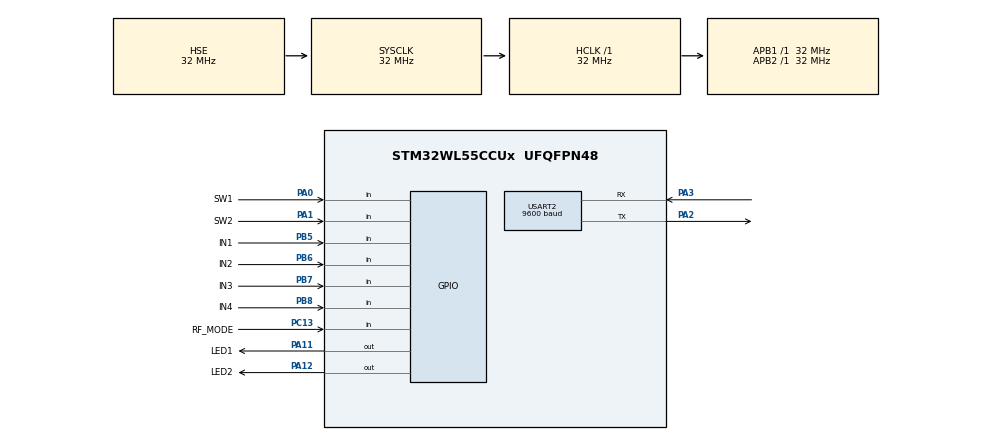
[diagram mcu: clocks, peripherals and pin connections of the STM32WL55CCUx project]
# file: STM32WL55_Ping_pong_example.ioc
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FREERTOS.BinarySemaphores01=radioBinarySem,Static,radioBinarySemControlBlock;mainBinarySem,Static,mainBinarySemControlBlock
FREERTOS.Tasks01=radioTask,24,128,StartRadioTask,Default,NULL,Static,radioTaskBuffer,radioTaskControlBlock;mainTask,24,128,StartMainTask,Default,NULL,Static,mainTaskBuffer,mainTaskControlBlock
FREERTOS.Timers01=mainTimer,mainTimerCallback,osTimerPeriodic,Default,NULL,Static,mainTimerControlBlock
FREERTOS.configUSE_IDLE_HOOK=0
FREERTOS.configUSE_NEWLIB_REENTRANT=1
FREERTOS.configUSE_TICKLESS_IDLE=1
LPTIM1.ClockPrescaler=LPTIM_PRESCALER_DIV1
Mcu.Family=STM32WL
Mcu.Name=STM32WL55CCUx
Mcu.Package=UFQFPN48
NVIC.PriorityGroup=NVIC_PRIORITYGROUP_4
NVIC.SUBGHZ_Radio_IRQn=true\:5\:0\:false\:false\:true\:true\:true\:true\:true
NVIC.TIM17_IRQn=true\:15\:0\:false\:false\:true\:false\:false\:true\:true
NVIC.TimeBase=TIM17_IRQn
NVIC.TimeBaseIP=TIM17
NVIC.USART2_IRQn=true\:5\:0\:false\:false\:true\:true\:true\:true\:true
OSC_IN.Mode=HSE-External-Oscillator
OSC_IN.Signal=RCC_OSC_IN
OSC_OUT.Mode=HSE-External-Oscillator
OSC_OUT.Signal=RCC_OSC_OUT
PA0.GPIO_Label=SW1
PA0.GPIO_PuPd=GPIO_PULLUP
PA0.Signal=GPIO_Input
PA1.GPIO_Label=SW2
PA1.GPIO_PuPd=GPIO_PULLUP
PA1.Signal=GPIO_Input
PA11.GPIO_Label=LED1
PA11.Signal=GPIO_Output
PA12.GPIO_Label=LED2
PA12.Signal=GPIO_Output
PA13.Signal=DEBUG_JTMS-SWDIO
PA14.Signal=DEBUG_JTCK-SWCLK
PA2.Mode=Asynchronous
PA2.Signal=USART2_TX
PA3.Mode=Asynchronous
PA3.Signal=USART2_RX
PB5.GPIO_Label=IN1
PB5.GPIO_PuPd=GPIO_PULLDOWN
PB5.Signal=GPIO_Input
PB6.GPIO_Label=IN2
PB6.GPIO_PuPd=GPIO_PULLDOWN
PB6.Signal=GPIO_Input
PB7.GPIO_Label=IN3
PB7.GPIO_PuPd=GPIO_PULLDOWN
PB7.Signal=GPIO_Input
PB8.GPIO_Label=IN4
PB8.GPIO_PuPd=GPIO_PULLDOWN
PB8.Signal=GPIO_Input
PC13.GPIO_Label=RF_MODE
PC13.GPIO_PuPd=GPIO_PULLUP
PC13.Signal=GPIO_Input
PC14-OSC32_IN.Mode=LSE-External-Oscillator
PC14-OSC32_IN.Signal=RCC_OSC32_IN
PC15-OSC32_OUT.Mode=LSE-External-Oscillator
PC15-OSC32_OUT.Signal=RCC_OSC32_OUT
ProjectManager.HeapSize=0x200
ProjectManager.StackSize=0x400
ProjectManager.TargetToolchain=STM32CubeIDE
RCC.AHBFreq_Value=32000000
RCC.APB1Freq_Value=32000000
RCC.APB1TimFreq_Value=32000000
RCC.APB2Freq_Value=32000000
RCC.APB2TimFreq_Value=32000000
RCC.APB3Freq_Value=32000000
RCC.CortexFreq_Value=32000000
RCC.HCLKFreq_Value=32000000
RCC.HSE_VALUE=32000000
RCC.HSI_VALUE=16000000
RCC.LSE_VALUE=32768
RCC.SYSCLKFreq_VALUE=32000000
RCC.SYSCLKSource=RCC_SYSCLKSOURCE_HSE
RCC.VCOOutputFreq_Value=32000000
SUBGHZ_PHY.TX_RFO_CONFIG=RBI_CONF_RFO_HP
USART2.BaudRate=9600
USART2.VirtualMode-Asynchronous=VM_ASYNC
VP_ADV_TRACE_VS_ADV_TRACE.Mode=ADV_TRACE_Enabled
VP_FREERTOS_VS_CMSIS_V2.Mode=CMSIS_V2
VP_LPTIM1_VS_LPTIM_counterModeInternalClock.Mode=Counts__internal_clock_event_00
VP_MISC_VS_MISC.Mode=MISC_Enabled
VP_RTC_VS_RTC_Activate.Mode=RTC_Enabled
VP_SUBGHZ_PHY_VS_SubGhzPhy.Mode=SubGhzPhy_Enabled
VP_SUBGHZ_VS_SUBGHZ.Mode=SUBGHZ_Activate
VP_SYS_VS_tim17.Mode=TIM17
VP_TIMER_VS_TIMER.Mode=TIMER_Enabled
VP_TINY_LPM_VS_TINY_LPM.Mode=TINY_LPM_Enabled
board=custom

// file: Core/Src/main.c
/* USER CODE BEGIN Header */
/**
 ******************************************************************************
 * @file           : main.c
 * @brief          : Main program body
 ******************************************************************************
 * @attention
 *
 * Copyright (c) 2022 STMicroelectronics.
 * All rights reserved.
 *
 * This software is licensed under terms that can be found in the LICENSE file
 * in the root directory of this software component.
 * If no LICENSE file comes with this software, it is provided AS-IS.
 *
 ******************************************************************************
 */
/* USER CODE END Header */
#include "main.h"
#include "cmsis_os2.h"
#include "FreeRTOS.h"
#include "app_subghz_phy.h"

/* USER CODE BEGIN Includes */

#include <string.h>
#include "board_define.h"
#include "protocol.h"
#include "radio_pin_manager.h"
#include "app_logic.h"
#include "rs485.h"
/* USER CODE END Includes */

typedef StaticTask_t osStaticThreadDef_t;
typedef StaticTimer_t osStaticTimerDef_t;
/* USER CODE BEGIN PTD */

typedef enum {

	RADIO_TX_START = 0, RADIO_RX_START, RADIO_SLEEP

} radio_state_t;

/* USER CODE END PTD */

/* USER CODE BEGIN PD */

#define UART_BUFFER_SIZE 255
#define RADIO_TX_TIMEOUT_COUNT 1000
#define RADIO_RX_TIMEOUT_COUNT 1000

/* USER CODE END PD */

LPTIM_HandleTypeDef hlptim1;

RTC_HandleTypeDef hrtc;

SUBGHZ_HandleTypeDef hsubghz;

UART_HandleTypeDef huart2;

/* Definitions for radioTask */
osThreadId_t radioTaskHandle;
uint32_t radioTaskBuffer[ 128 ];
osStaticThreadDef_t radioTaskControlBlock;
const osThreadAttr_t radioTask_attributes = {
  .name = "radioTask",
  .stack_mem = &radioTaskBuffer[0],
  .stack_size = sizeof(radioTaskBuffer),
  .cb_mem = &radioTaskControlBlock,
  .cb_size = sizeof(radioTaskControlBlock),
  .priority = (osPriority_t) osPriorityNormal,
};
/* Definitions for mainTask */
osThreadId_t mainTaskHandle;
uint32_t mainTaskBuffer[ 128 ];
osStaticThreadDef_t mainTaskControlBlock;
const osThreadAttr_t mainTask_attributes = {
  .name = "mainTask",
  .stack_mem = &mainTaskBuffer[0],
  .stack_size = sizeof(mainTaskBuffer),
  .cb_mem = &mainTaskControlBlock,
  .cb_size = sizeof(mainTaskControlBlock),
  .priority = (osPriority_t) osPriorityNormal,
};
/* Definitions for mainTimer */
osTimerId_t mainTimerHandle;
osStaticTimerDef_t mainTimerControlBlock;
const osTimerAttr_t mainTimer_attributes = {
  .name = "mainTimer",
  .cb_mem = &mainTimerControlBlock,
  .cb_size = sizeof(mainTimerControlBlock),
};
/* Definitions for radioBinarySem */
osSemaphoreId_t radioBinarySemHandle;
const osSemaphoreAttr_t radioBinarySem_attributes = {
  .name = "radioBinarySem"
};
/* Definitions for mainBinarySem */
osSemaphoreId_t mainBinarySemHandle;
const osSemaphoreAttr_t mainBinarySem_attributes = {
  .name = "mainBinarySem"
};
/* USER CODE BEGIN PV */

const uint16_t COMPANY_ID = 0x0000;
const uint16_t DEVICE_ID = 0x0000;

static uint8_t mac_address[MAC_ADDRESS_SIZE];

static uint16_t uart_tx_buffer_length = 0x00;
static uint8_t uart_tx_buffer[UART_BUFFER_SIZE] = { 0x00 };

static uint8_t radio_packet_protocol_size = 0;
static radio_packet_protocol_t radio_packet_protocol;

static volatile radio_state_t radio_state = RADIO_SLEEP;
static uint16_t radio_timer_count = 0;

static uint8_t radio_tx_buffer_size = 0;
static uint8_t radio_tx_buffer[128] = { 0x00 };

static int16_t radio_rx_rssi = 0;
static int8_t radio_rx_snr = 0;
static uint8_t radio_rx_buffer_size = 0;
static uint8_t radio_rx_buffer[128] = { 0x00 };

static uint8_t uart_2_data = 0x00;
static uint8_t uart_rx_buffer_size = 0;
static uint8_t uart_rx_buffer[128] = { 0x00 };

#ifdef EXAMPLE_TX

static volatile uint8_t cycle_timeout_count = 0;

#endif

/* USER CODE END PV */

void SystemClock_Config(void);
static void MX_GPIO_Init(void);
static void MX_LPTIM1_Init(void);
static void MX_RTC_Init(void);
static void MX_USART2_UART_Init(void);
void StartRadioTask(void *argument);
void StartMainTask(void *argument);
void mainTimerCallback(void *argument);

int main(void)
{

  /* MCU Configuration--------------------------------------------------------*/

  /* Reset of all peripherals, Initializes the Flash interface and the Systick. */
  HAL_Init();

  /* Configure the system clock */
  SystemClock_Config();

  /* Initialize all configured peripherals */
  MX_GPIO_Init();
  MX_LPTIM1_Init();
  MX_RTC_Init();
  MX_USART2_UART_Init();

  /* Init scheduler */
  osKernelInitialize();

  /* Create the semaphores(s) */
  /* creation of radioBinarySem */
  radioBinarySemHandle = osSemaphoreNew(1, 0, &radioBinarySem_attributes);

  /* creation of mainBinarySem */
  mainBinarySemHandle = osSemaphoreNew(1, 1, &mainBinarySem_attributes);

  /* Create the timer(s) */
  /* creation of mainTimer */
  mainTimerHandle = osTimerNew(mainTimerCallback, osTimerPeriodic, NULL, &mainTimer_attributes);

  /* Create the thread(s) */
  /* creation of radioTask */
  radioTaskHandle = osThreadNew(StartRadioTask, NULL, &radioTask_attributes);

  /* creation of mainTask */
  mainTaskHandle = osThreadNew(StartMainTask, NULL, &mainTask_attributes);

  /* Start scheduler */
  osKernelStart();

  /* We should never get here as control is now taken by the scheduler */

  /* Infinite loop */
	while (1) {

	}
}

void SystemClock_Config(void)
{
  RCC_OscInitTypeDef RCC_OscInitStruct = {0};
  RCC_ClkInitTypeDef RCC_ClkInitStruct = {0};

  /** Configure the main internal regulator output voltage
  */
  __HAL_PWR_VOLTAGESCALING_CONFIG(PWR_REGULATOR_VOLTAGE_SCALE1);

  /** Initializes the CPU, AHB and APB buses clocks
  */
  RCC_OscInitStruct.OscillatorType = RCC_OSCILLATORTYPE_LSI|RCC_OSCILLATORTYPE_HSE;
  RCC_OscInitStruct.HSEState = RCC_HSE_ON;
  RCC_OscInitStruct.LSIDiv = RCC_LSI_DIV1;
  RCC_OscInitStruct.HSEDiv = RCC_HSE_DIV1;
  RCC_OscInitStruct.LSIState = RCC_LSI_ON;
  RCC_OscInitStruct.PLL.PLLState = RCC_PLL_NONE;
  if (HAL_RCC_OscConfig(&RCC_OscInitStruct) != HAL_OK)
  {
    Error_Handler();
  }

  /** Configure the SYSCLKSource, HCLK, PCLK1 and PCLK2 clocks dividers
  */
  RCC_ClkInitStruct.ClockType = RCC_CLOCKTYPE_HCLK3|RCC_CLOCKTYPE_HCLK
                              |RCC_CLOCKTYPE_SYSCLK|RCC_CLOCKTYPE_PCLK1
                              |RCC_CLOCKTYPE_PCLK2;
  RCC_ClkInitStruct.SYSCLKSource = RCC_SYSCLKSOURCE_HSE;
  RCC_ClkInitStruct.AHBCLKDivider = RCC_SYSCLK_DIV1;
  RCC_ClkInitStruct.APB1CLKDivider = RCC_HCLK_DIV1;
  RCC_ClkInitStruct.APB2CLKDivider = RCC_HCLK_DIV1;
  RCC_ClkInitStruct.AHBCLK3Divider = RCC_SYSCLK_DIV1;

  if (HAL_RCC_ClockConfig(&RCC_ClkInitStruct, FLASH_LATENCY_1) != HAL_OK)
  {
    Error_Handler();
  }
}

static void MX_LPTIM1_Init(void)
{

  hlptim1.Instance = LPTIM1;
  hlptim1.Init.Clock.Source = LPTIM_CLOCKSOURCE_APBCLOCK_LPOSC;
  hlptim1.Init.Clock.Prescaler = LPTIM_PRESCALER_DIV1;
  hlptim1.Init.Trigger.Source = LPTIM_TRIGSOURCE_SOFTWARE;
  hlptim1.Init.OutputPolarity = LPTIM_OUTPUTPOLARITY_HIGH;
  hlptim1.Init.UpdateMode = LPTIM_UPDATE_IMMEDIATE;
  hlptim1.Init.CounterSource = LPTIM_COUNTERSOURCE_INTERNAL;
  hlptim1.Init.Input1Source = LPTIM_INPUT1SOURCE_GPIO;
  hlptim1.Init.Input2Source = LPTIM_INPUT2SOURCE_GPIO;
  if (HAL_LPTIM_Init(&hlptim1) != HAL_OK)
  {
    Error_Handler();
  }

}

static void MX_RTC_Init(void)
{

  /** Initialize RTC Only
  */
  hrtc.Instance = RTC;
  hrtc.Init.HourFormat = RTC_HOURFORMAT_24;
  hrtc.Init.AsynchPrediv = 127;
  hrtc.Init.SynchPrediv = 255;
  hrtc.Init.OutPut = RTC_OUTPUT_DISABLE;
  hrtc.Init.OutPutRemap = RTC_OUTPUT_REMAP_NONE;
  hrtc.Init.OutPutPolarity = RTC_OUTPUT_POLARITY_HIGH;
  hrtc.Init.OutPutType = RTC_OUTPUT_TYPE_OPENDRAIN;
  hrtc.Init.OutPutPullUp = RTC_OUTPUT_PULLUP_NONE;
  hrtc.Init.BinMode = RTC_BINARY_NONE;
  if (HAL_RTC_Init(&hrtc) != HAL_OK)
  {
    Error_Handler();
  }

}

void MX_SUBGHZ_Init(void)
{

  hsubghz.Init.BaudratePrescaler = SUBGHZSPI_BAUDRATEPRESCALER_8;
  if (HAL_SUBGHZ_Init(&hsubghz) != HAL_OK)
  {
    Error_Handler();
  }

}

static void MX_USART2_UART_Init(void)
{

  huart2.Instance = USART2;
  huart2.Init.BaudRate = 9600;
  huart2.Init.WordLength = UART_WORDLENGTH_8B;
  huart2.Init.StopBits = UART_STOPBITS_1;
  huart2.Init.Parity = UART_PARITY_NONE;
  huart2.Init.Mode = UART_MODE_TX_RX;
  huart2.Init.HwFlowCtl = UART_HWCONTROL_NONE;
  huart2.Init.OverSampling = UART_OVERSAMPLING_16;
  huart2.Init.OneBitSampling = UART_ONE_BIT_SAMPLE_DISABLE;
  huart2.Init.ClockPrescaler = UART_PRESCALER_DIV1;
  huart2.AdvancedInit.AdvFeatureInit = UART_ADVFEATURE_NO_INIT;
  if (HAL_UART_Init(&huart2) != HAL_OK)
  {
    Error_Handler();
  }
  if (HAL_UARTEx_SetTxFifoThreshold(&huart2, UART_TXFIFO_THRESHOLD_1_8) != HAL_OK)
  {
    Error_Handler();
  }
  if (HAL_UARTEx_SetRxFifoThreshold(&huart2, UART_RXFIFO_THRESHOLD_1_8) != HAL_OK)
  {
    Error_Handler();
  }
  if (HAL_UARTEx_DisableFifoMode(&huart2) != HAL_OK)
  {
    Error_Handler();
  }

}

static void MX_GPIO_Init(void)
{
  GPIO_InitTypeDef GPIO_InitStruct = {0};

  /* GPIO Ports Clock Enable */
  __HAL_RCC_GPIOB_CLK_ENABLE();
  __HAL_RCC_GPIOA_CLK_ENABLE();
  __HAL_RCC_GPIOC_CLK_ENABLE();

  /*Configure GPIO pin Output Level */
  HAL_GPIO_WritePin(GPIOA, LED1_Pin|LED2_Pin, GPIO_PIN_RESET);

  /*Configure GPIO pins : IN1_Pin IN2_Pin IN3_Pin IN4_Pin */
  GPIO_InitStruct.Pin = IN1_Pin|IN2_Pin|IN3_Pin|IN4_Pin;
  GPIO_InitStruct.Mode = GPIO_MODE_INPUT;
  GPIO_InitStruct.Pull = GPIO_PULLDOWN;
  HAL_GPIO_Init(GPIOB, &GPIO_InitStruct);

  /*Configure GPIO pins : SW1_Pin SW2_Pin */
  GPIO_InitStruct.Pin = SW1_Pin|SW2_Pin;
  GPIO_InitStruct.Mode = GPIO_MODE_INPUT;
  GPIO_InitStruct.Pull = GPIO_PULLUP;
  HAL_GPIO_Init(GPIOA, &GPIO_InitStruct);

  /*Configure GPIO pins : LED1_Pin LED2_Pin */
  GPIO_InitStruct.Pin = LED1_Pin|LED2_Pin;
  GPIO_InitStruct.Mode = GPIO_MODE_OUTPUT_PP;
  GPIO_InitStruct.Pull = GPIO_NOPULL;
  GPIO_InitStruct.Speed = GPIO_SPEED_FREQ_LOW;
  HAL_GPIO_Init(GPIOA, &GPIO_InitStruct);

  /*Configure GPIO pin : RF_MODE_Pin */
  GPIO_InitStruct.Pin = RF_MODE_Pin;
  GPIO_InitStruct.Mode = GPIO_MODE_OUTPUT_PP;
  GPIO_InitStruct.Pull = GPIO_NOPULL;
  GPIO_InitStruct.Speed = GPIO_SPEED_FREQ_LOW;
  HAL_GPIO_Init(RF_MODE_GPIO_Port, &GPIO_InitStruct);
  HAL_GPIO_WritePin(RF_MODE_GPIO_Port, RF_MODE_Pin, GPIO_PIN_RESET);

}

/* USER CODE BEGIN 4 */

void HAL_UART_RxCpltCallback(UART_HandleTypeDef *huart) {

	RS485_UART_RxCpltCallback(huart);

}

static void uart_usb_in_out_data_send(uint8_t *data, uint16_t size) {

	uint8_t send_data = 0x00;

	for (uint16_t i = 0; i < size; i++) {

		send_data = data[i];
		HAL_UART_Transmit(&huart2, &send_data, 1, 10);

	}

}

static void set_uart_usb_in_out_write_string(char *data) {

	uart_tx_buffer_length = 0;
	memset(uart_tx_buffer, 0x00, sizeof(uart_tx_buffer));

	uart_tx_buffer_length = sprintf((char*) uart_tx_buffer, "%s\r\n", data);

	uart_usb_in_out_data_send(uart_tx_buffer, uart_tx_buffer_length);

}

static void set_uart_usb_in_out_find_i2c_address(uint8_t address) {

	uart_tx_buffer_length = 0;
	memset(uart_tx_buffer, 0x00, sizeof(uart_tx_buffer));

	uart_tx_buffer_length = sprintf((char*) uart_tx_buffer,
			"I2C Address : %02X\r\n", address);

	uart_usb_in_out_data_send(uart_tx_buffer, uart_tx_buffer_length);

}

static void set_uart_usb_in_out_mac_address(uint8_t *mac_address) {

	uart_tx_buffer_length = 0;
	memset(uart_tx_buffer, 0x00, sizeof(uart_tx_buffer));

	uart_tx_buffer_length = sprintf((char*) uart_tx_buffer, "MAC Address : ");

	for (uint8_t i = 0; i < 8; i++) {

		uart_tx_buffer_length += sprintf(
				(char*) uart_tx_buffer + uart_tx_buffer_length, "%02X",
				mac_address[i]);

	}

	uart_tx_buffer_length += sprintf(
			(char*) uart_tx_buffer + uart_tx_buffer_length, "\r\n");

	uart_usb_in_out_data_send(uart_tx_buffer, uart_tx_buffer_length);

}

static void set_uart_usb_in_out_voltage(int16_t voltage) {

	uart_tx_buffer_length = 0;
	memset(uart_tx_buffer, 0x00, sizeof(uart_tx_buffer));

	uart_tx_buffer_length = sprintf((char*) uart_tx_buffer,
			"Voltage : %d V\r\n", voltage);

	uart_usb_in_out_data_send(uart_tx_buffer, uart_tx_buffer_length);

}

static void set_uart_usb_in_out_payload(
		radio_packet_protocol_t receive_radio_packet, int16_t rssi, int8_t snr) {

	uart_tx_buffer_length = 0;
	memset(uart_tx_buffer, 0x00, sizeof(uart_tx_buffer));

	uart_tx_buffer_length = sprintf((char*) uart_tx_buffer,
			"\r\nPacket Receive\r\n");

	uint16_t company_id = receive_radio_packet.Packet.company_id[0] << 8;
	company_id |= receive_radio_packet.Packet.company_id[1];

	uart_tx_buffer_length += sprintf(
			(char*) uart_tx_buffer + uart_tx_buffer_length,
			"Company ID : %d\r\n", company_id);

	uint16_t device_id = receive_radio_packet.Packet.device_id[0] << 8;
	device_id |= receive_radio_packet.Packet.device_id[1];

	uart_tx_buffer_length += sprintf(
			(char*) uart_tx_buffer + uart_tx_buffer_length,
			"Device ID : %d\r\n", device_id);

	uart_tx_buffer_length += sprintf(
			(char*) uart_tx_buffer + uart_tx_buffer_length, "MAC Address : ");

	for (uint8_t i = 0; i < 8; i++) {

		uart_tx_buffer_length += sprintf(
				(char*) uart_tx_buffer + uart_tx_buffer_length, "%02X",
				receive_radio_packet.Packet.mac_address[i]);

	}

	uart_tx_buffer_length += sprintf(
			(char*) uart_tx_buffer + uart_tx_buffer_length, "\r\n");

	uart_tx_buffer_length += sprintf(
			(char*) uart_tx_buffer + uart_tx_buffer_length,
			"Control Number : %d\r\n",
			receive_radio_packet.Packet.control_number);

	uart_tx_buffer_length += sprintf(
			(char*) uart_tx_buffer + uart_tx_buffer_length, "RSSI : %d\r\n",
			rssi);

	uart_tx_buffer_length += sprintf(
			(char*) uart_tx_buffer + uart_tx_buffer_length, "SNR : %d\r\n",
			snr);

	uart_tx_buffer_length += sprintf(
			(char*) uart_tx_buffer + uart_tx_buffer_length, "Payload : %s\r\n",
			receive_radio_packet.Packet.paylaod);

	uart_usb_in_out_data_send(uart_tx_buffer, uart_tx_buffer_length);

}
//
//static uint8_t get_i2c_scan_address() {
//
//	uint8_t count = 0;
//	HAL_StatusTypeDef result;
//
//	for (uint8_t i = 1; i < 128; i++) {
//
//		result = HAL_I2C_IsDeviceReady(&hi2c2, (uint16_t) (i << 1), 2, 2);
//
//		if (result == HAL_OK) {
//
//			set_uart_usb_in_out_find_i2c_address(i);
//
//			count++;
//
//		}
//
//	}
//
//	return count;
//
//}
//
//static void get_voltage_level() {
//
//	HAL_ADC_Start(&hadc);
//
//	HAL_ADC_PollForConversion(&hadc, 10);
//	float battery_adc = HAL_ADC_GetValue(&hadc);
//	battery_adc = battery_adc * 3.3 / 4095;
//	battery_adc *= 2;
//
//	HAL_ADC_Stop(&hadc);
//
//	set_uart_usb_in_out_voltage((int16_t) 4);
//
//}

/* USER CODE END 4 */

void StartRadioTask(void *argument)
{
  /* USER CODE BEGIN 5 */

  for (;;)
  {
      osDelay(1000);
  }

  /* USER CODE END 5 */
}
void StartMainTask(void *argument)
{
  /* USER CODE BEGIN StartMainTask */

  App_Init();

  for (;;)
  {
      App_Process();
  }

  /* USER CODE END StartMainTask */
}
/* mainTimerCallback function */
void mainTimerCallback(void *argument)
{
  /* USER CODE BEGIN mainTimerCallback */

#ifdef EXAMPLE_TX

	cycle_timeout_count++;

	if (cycle_timeout_count > 100) {

		cycle_timeout_count = 0;
		osSemaphoreRelease(mainBinarySemHandle);

	}

#endif

	if (HAL_GPIO_ReadPin(GPIO_BUTTON_0_Port, GPIO_BUTTON_0_Pin) == 0x01) {

		HAL_GPIO_TogglePin(GPIO_LED_0_Port, GPIO_LED_0_Pin);

	}

	if (HAL_GPIO_ReadPin(GPIO_BUTTON_1_Port, GPIO_BUTTON_1_Pin) == 0x01) {

		HAL_GPIO_TogglePin(GPIO_LED_1_Port, GPIO_LED_1_Pin);

	}

  /* USER CODE END mainTimerCallback */
}

void HAL_TIM_PeriodElapsedCallback(TIM_HandleTypeDef *htim)
{
  if (htim->Instance == TIM17)
  {
    HAL_IncTick();
  }
}

void Error_Handler(void)
{
	__disable_irq();
	while (1) {
	}
}
